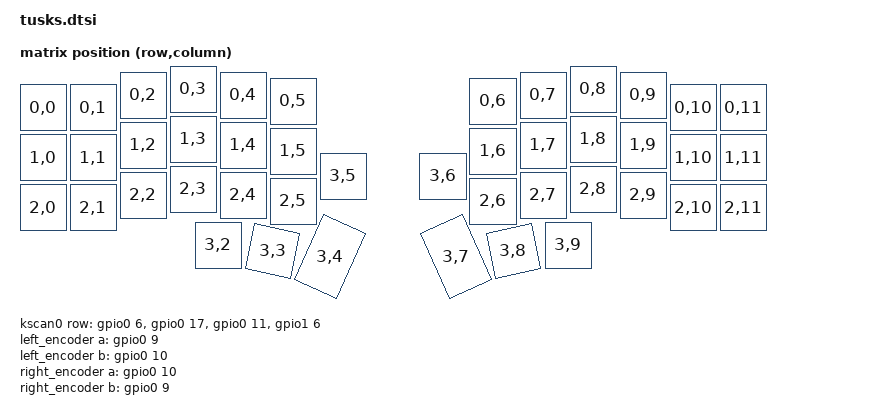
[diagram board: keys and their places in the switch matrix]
#include <dt-bindings/zmk/matrix_transform.h>
#include <physical_layouts.dtsi>

/ {
   tusks_layout: tusks_layout {
        compatible = "zmk,physical-layout";
        display-name = "Default Layout";
        kscan = <&kscan0>;

        keys  //                     w   h    x    y     rot    rx    ry
            = <&key_physical_attrs 100 100    0   37       0     0     0>
            , <&key_physical_attrs 100 100  100   37       0     0     0>
            , <&key_physical_attrs 100 100  200   12       0     0     0>
            , <&key_physical_attrs 100 100  300    0       0     0     0>
            , <&key_physical_attrs 100 100  400   12       0     0     0>
            , <&key_physical_attrs 100 100  500   24       0     0     0>

            , <&key_physical_attrs 100 100  900   24       0     0     0>
            , <&key_physical_attrs 100 100 1000   12       0     0     0>
            , <&key_physical_attrs 100 100 1100    0       0     0     0>
            , <&key_physical_attrs 100 100 1200   12       0     0     0>
            , <&key_physical_attrs 100 100 1300   37       0     0     0>
            , <&key_physical_attrs 100 100 1400   37       0     0     0>

            , <&key_physical_attrs 100 100    0  137       0     0     0>
            , <&key_physical_attrs 100 100  100  137       0     0     0>
            , <&key_physical_attrs 100 100  200  112       0     0     0>
            , <&key_physical_attrs 100 100  300  100       0     0     0>
            , <&key_physical_attrs 100 100  400  112       0     0     0>
            , <&key_physical_attrs 100 100  500  124       0     0     0>

            , <&key_physical_attrs 100 100  900  124       0     0     0>
            , <&key_physical_attrs 100 100 1000  112       0     0     0>
            , <&key_physical_attrs 100 100 1100  100       0     0     0>
            , <&key_physical_attrs 100 100 1200  112       0     0     0>
            , <&key_physical_attrs 100 100 1300  137       0     0     0>
            , <&key_physical_attrs 100 100 1400  137       0     0     0>

            , <&key_physical_attrs 100 100    0  237       0     0     0>
            , <&key_physical_attrs 100 100  100  237       0     0     0>
            , <&key_physical_attrs 100 100  200  212       0     0     0>
            , <&key_physical_attrs 100 100  300  200       0     0     0>
            , <&key_physical_attrs 100 100  400  212       0     0     0>
            , <&key_physical_attrs 100 100  500  224       0     0     0>

            , <&key_physical_attrs 100 100  900  224       0     0     0>
            , <&key_physical_attrs 100 100 1000  212       0     0     0>
            , <&key_physical_attrs 100 100 1100  200       0     0     0>
            , <&key_physical_attrs 100 100 1200  212       0     0     0>
            , <&key_physical_attrs 100 100 1300  237       0     0     0>
            , <&key_physical_attrs 100 100 1400  237       0     0     0>
            , <&key_physical_attrs 100 100  350  312       0     0     0>

            , <&key_physical_attrs 100 100  450  312    1200   450   412>
            , <&key_physical_attrs 100 150  548  283    2400   548   433>
			, <&key_physical_attrs 100 100  600  174       0     0     0>

            , <&key_physical_attrs 100 100  800  174       0     0     0>
            , <&key_physical_attrs 100 150  852  283  (-2400)  952   433>
            , <&key_physical_attrs 100 100  950  312  (-1200) 1050   412>
            , <&key_physical_attrs 100 100 1050  312       0     0     0>
        ;
    };
};

/ {
    tusks_position_map {
        compatible = "zmk,physical-layout-position-map";
        complete;

        tusks_map: tusks {
            physical-layout = <&tusks_layout>;
            positions
            = < 0  1  2  3  4  5        6  7  8  9 10 11>
            , <12 13 14 15 16 17       18 19 20 21 22 23>
            , <24 25 26 27 28 29 	   30 31 32 33 34 35 >
            , <         36 37 38 39 40 41 42 43      >;
        };
    };
};

/ {

	chosen {
		zmk,kscan = &kscan0;
		zmk,matrix_transform = &default_transform;
	};

	default_transform: keymap_transform_0 {
		compatible = "zmk,matrix-transform";
		columns = <12>;
		rows = <4>;
		map = <
		RC(0,0) RC(0,1) RC(0,2) RC(0,3) RC(0,4) RC(0,5)                 RC(0,6) RC(0,7) RC(0,8) RC(0,9) RC(0,10) RC(0,11)
		RC(1,0) RC(1,1) RC(1,2) RC(1,3) RC(1,4) RC(1,5)                 RC(1,6) RC(1,7) RC(1,8) RC(1,9) RC(1,10) RC(1,11)
		RC(2,0) RC(2,1) RC(2,2) RC(2,3) RC(2,4) RC(2,5)  				RC(2,6) RC(2,7) RC(2,8) RC(2,9) RC(2,10) RC(2,11)
								RC(3,2) RC(3,3) RC(3,4) RC(3,5) RC(3,6) RC(3,7) RC(3,8) RC(3,9)
		>;
	};

	kscan0: kscan {
		compatible = "zmk,kscan-gpio-matrix";
		wakeup-source;
		diode-direction = "col2row";
		row-gpios =
		<&gpio0 6 (GPIO_ACTIVE_HIGH | GPIO_PULL_DOWN)>,
		<&gpio0 17 (GPIO_ACTIVE_HIGH | GPIO_PULL_DOWN)>,
		<&gpio0 11 (GPIO_ACTIVE_HIGH | GPIO_PULL_DOWN)>,
		<&gpio1 6 (GPIO_ACTIVE_HIGH | GPIO_PULL_DOWN)>
		;
	};

	left_encoder: encoder_left {
		compatible = "alps,ec11";
		a-gpios = <&gpio0 9 (GPIO_ACTIVE_HIGH | GPIO_PULL_UP)>;
		b-gpios = <&gpio0 10 (GPIO_ACTIVE_HIGH | GPIO_PULL_UP)>;
		steps = <80>;
	};

	right_encoder: encoder_right {
		compatible = "alps,ec11";
		a-gpios = <&gpio0 10 (GPIO_ACTIVE_HIGH | GPIO_PULL_UP)>;
		b-gpios = <&gpio0 9 (GPIO_ACTIVE_HIGH | GPIO_PULL_UP)>;
		steps = <80>;
	};

	sensors: sensors {
		compatible = "zmk,keymap-sensors";
		sensors = <&left_encoder &right_encoder>;
		triggers-per-rotation = <20>;
	};
};
